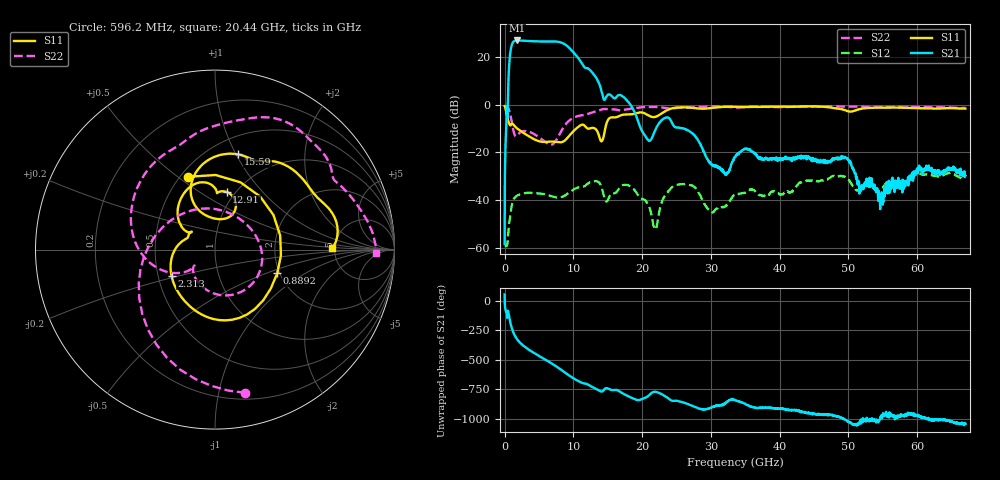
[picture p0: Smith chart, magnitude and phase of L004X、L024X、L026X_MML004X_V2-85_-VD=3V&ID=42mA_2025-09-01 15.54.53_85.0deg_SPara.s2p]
!Keysight Technologies,N5247B,MY63057157,A.17.10.07
!Date: Monday, September 01, 2025 16:01:50
!Correction: S11(C  2-Port  )
!S21(C  2-Port  )
!S12(C  2-Port  )
!S22(C  2-Port  )
!S2P File: Measurements: S11, S21, S12, S22:
# Hz S  dB  R 50
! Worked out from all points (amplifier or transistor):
!   1601 points, 10 MHz to 67 GHz, reference 50 ohm
!   highest |S21| = 27.1 dB at 1.768 GHz (marker M1)
!   |S21| within 3 dB of that: 957 MHz to 9.367 GHz (8.41 GHz wide, 163 % of centre)
!   unconditionally stable (mu >= 1): start of sweep to end of sweep
!   at 11.15 GHz: K = 2.06, MAG = 20.3 dB, |S12| = -34.4 dB
!   at 33.51 GHz: K = 20.16, MAG = -8.1 dB, |S12| = -37.7 dB
!   at 67 GHz: K = 37.24, MAG = -18.5 dB, |S12| = -30.3 dB
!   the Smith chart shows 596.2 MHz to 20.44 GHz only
!   S11 on the Smith chart (normalised r, x): 596.2 MHz: 0.55, +0.55; 889.2 MHz: 1.94, -0.59; 2.313 GHz: 0.59, -0.19; 12.91 GHz: 0.91, +0.66; 15.59 GHz: 0.67, +1.02; 20.44 GHz: 4.77, +0.13
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1e7  -0.57 -26.7  -58.46 52.7  -58.95 4.7  -0.27 -12.1
5.961625e8  -7.28 110.1  12.42 -109.8  -52.14 -105.6  -1.77 -78.0
8.892438e8  -8.61 -20.8  23.02 165.2  -45.45 172.1  -4.72 -130.1
1.3498e9  -8.52 -98.5  26.65 81.5  -39.56 110.4  -11.58 127.6
1.768488e9  -9.79 -125.2  27.05 38.6  -38.28 78.1  -13.09 45.4
2.312781e9  -10.95 -148.7  27.00 1.9  -37.62 54.6  -11.52 -8.1
3.275762e9  -12.77 -177.0  26.87 -43.8  -36.97 30.9  -11.11 -55.6
4.36435e9  -14.58 165.1  26.70 -85.3  -37.10 11.9  -12.40 -94.7
5.536675e9  -15.58 156.7  26.61 -125.1  -37.41 -3.0  -14.74 -129.5
6.918344e9  -15.45 147.5  26.64 -172.5  -38.52 -12.0  -16.67 -141.6
7.797588e9  -15.70 142.4  26.52 153.6  -38.98 -11.4  -13.41 -143.9
8.802438e9  -14.90 147.2  25.38 111.3  -38.09 -6.9  -8.48 -169.9
9.932894e9  -11.34 139.3  22.38 66.6  -35.81 -12.4  -5.62 151.9
1.118896e10  -8.41 109.4  17.73 27.0  -34.42 -29.2  -4.41 117.8
1.290558e10  -9.71 78.5  13.04 -14.2  -32.15 -56.3  -3.09 87.0
1.558518e10  -5.26 76.4  3.68 -36.0  -37.25 -68.4  -1.86 42.6
2.044195e10  -3.69 0.7  -13.04 -101.7  -40.07 -147.1  -0.93 -1.1
2.236791e10  -4.49 1.0  -8.16 -57.7  -46.94 -5.3  -0.98 -18.2
3.3505e10  -0.85 -81.8  -21.85 -121.3  -37.72 -130.9  -1.18 -73.4
4.468396e10  -0.66 -126.2  -23.21 125.3  -31.98 167.9  -0.70 -108.9
5.586291e10  -1.21 -153.3  -31.92 114.0  -32.31 127.9  -0.85 -141.3
6.7e10  -1.59 178.6  -29.75 37.5  -30.28 56.5  -1.21 -174.5
